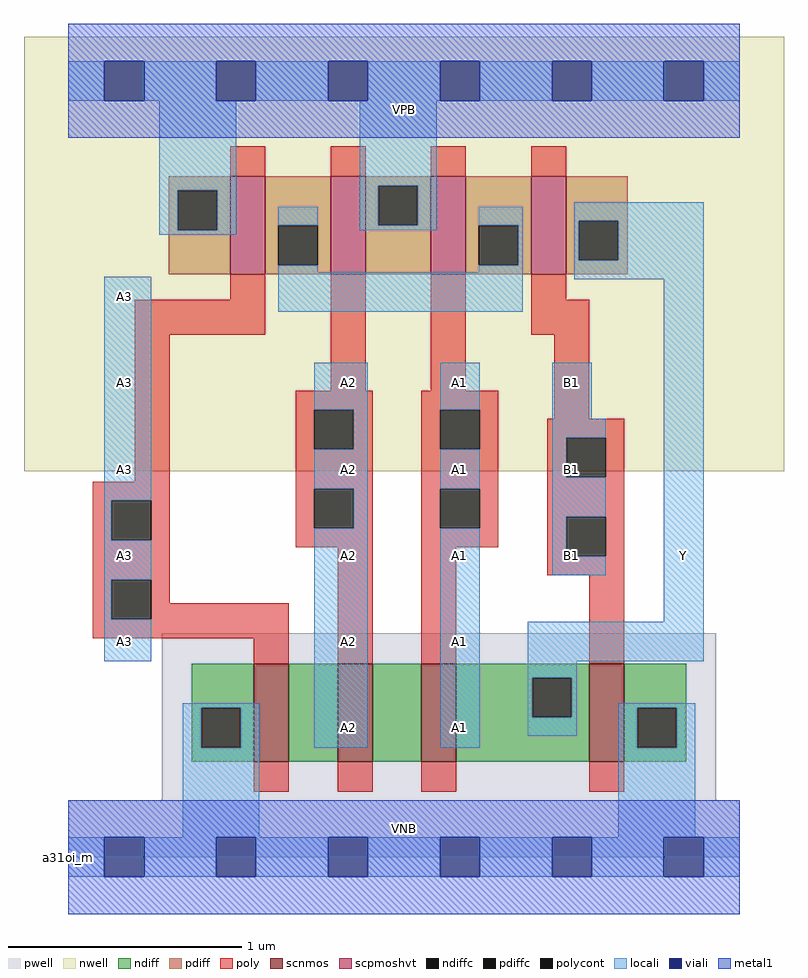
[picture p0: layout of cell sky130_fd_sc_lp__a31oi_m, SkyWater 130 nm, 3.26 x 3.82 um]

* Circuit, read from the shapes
.subckt sky130_fd_sc_lp__a31oi_m A1 A2 A3 B1 VGND VNB VPB VPWR Y
XM1 n1 A3 VGND VNB sky130_fd_pr__nfet_01v8 w=0.42 l=0.15
XM2 n2 A2 n1 VNB sky130_fd_pr__nfet_01v8 w=0.42 l=0.15
XM3 Y A1 n2 VNB sky130_fd_pr__nfet_01v8 w=0.42 l=0.15
XM4 VGND B1 Y VNB sky130_fd_pr__nfet_01v8 w=0.42 l=0.15
XM5 n3 A3 VPWR VPB sky130_fd_pr__pfet_01v8_hvt w=0.42 l=0.15
XM6 VPWR A2 n3 VPB sky130_fd_pr__pfet_01v8_hvt w=0.42 l=0.15
XM7 n3 A1 VPWR VPB sky130_fd_pr__pfet_01v8_hvt w=0.42 l=0.15
XM8 Y B1 n3 VPB sky130_fd_pr__pfet_01v8_hvt w=0.42 l=0.15
.ends

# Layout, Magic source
magic
tech sky130A
magscale 1 2
<< nwell >>
rect -38 331 614 704
<< pwell >>
rect 80 49 556 192
rect 0 0 576 49
<< scnmos >>
rect 159 82 189 166
rect 231 82 261 166
rect 303 82 333 166
rect 447 82 477 166
<< scpmoshvt >>
rect 139 500 169 584
rect 225 500 255 584
rect 311 500 341 584
rect 397 500 427 584
<< ndiff >>
rect 106 128 159 166
rect 106 94 114 128
rect 148 94 159 128
rect 106 82 159 94
rect 189 82 231 166
rect 261 82 303 166
rect 333 154 447 166
rect 333 120 398 154
rect 432 120 447 154
rect 333 82 447 120
rect 477 128 530 166
rect 477 94 488 128
rect 522 94 530 128
rect 477 82 530 94
<< pdiff >>
rect 86 572 139 584
rect 86 538 94 572
rect 128 538 139 572
rect 86 500 139 538
rect 169 542 225 584
rect 169 508 180 542
rect 214 508 225 542
rect 169 500 225 508
rect 255 576 311 584
rect 255 542 266 576
rect 300 542 311 576
rect 255 500 311 542
rect 341 542 397 584
rect 341 508 352 542
rect 386 508 397 542
rect 341 500 397 508
rect 427 546 480 584
rect 427 512 438 546
rect 472 512 480 546
rect 427 500 480 512
<< ndiffc >>
rect 114 94 148 128
rect 398 120 432 154
rect 488 94 522 128
<< pdiffc >>
rect 94 538 128 572
rect 180 508 214 542
rect 266 542 300 576
rect 352 508 386 542
rect 438 512 472 546
<< poly >>
rect 139 584 169 610
rect 225 584 255 610
rect 311 584 341 610
rect 397 584 427 610
rect 139 478 169 500
rect 57 448 169 478
rect 57 322 87 448
rect 225 400 255 500
rect 311 400 341 500
rect 397 478 427 500
rect 397 448 447 478
rect 21 306 87 322
rect 21 272 37 306
rect 71 272 87 306
rect 21 238 87 272
rect 195 384 261 400
rect 195 350 211 384
rect 245 350 261 384
rect 195 316 261 350
rect 195 282 211 316
rect 245 282 261 316
rect 195 266 261 282
rect 21 204 37 238
rect 71 218 87 238
rect 71 204 189 218
rect 21 188 189 204
rect 159 166 189 188
rect 231 166 261 266
rect 303 384 369 400
rect 303 350 319 384
rect 353 350 369 384
rect 417 376 447 448
rect 303 316 369 350
rect 303 282 319 316
rect 353 282 369 316
rect 303 266 369 282
rect 411 360 477 376
rect 411 326 427 360
rect 461 326 477 360
rect 411 292 477 326
rect 303 166 333 266
rect 411 258 427 292
rect 461 258 477 292
rect 411 242 477 258
rect 447 166 477 242
rect 159 56 189 82
rect 231 56 261 82
rect 303 56 333 82
rect 447 56 477 82
<< polycont >>
rect 37 272 71 306
rect 211 350 245 384
rect 211 282 245 316
rect 37 204 71 238
rect 319 350 353 384
rect 319 282 353 316
rect 427 326 461 360
rect 427 258 461 292
<< locali >>
rect 0 649 31 683
rect 65 649 127 683
rect 161 649 223 683
rect 257 649 319 683
rect 353 649 415 683
rect 449 649 511 683
rect 545 649 576 683
rect 78 572 144 649
rect 78 538 94 572
rect 128 538 144 572
rect 250 576 316 649
rect 78 534 144 538
rect 180 542 214 558
rect 250 542 266 576
rect 300 542 316 576
rect 250 538 316 542
rect 352 542 390 558
rect 180 502 214 508
rect 386 508 390 542
rect 352 502 390 508
rect 31 306 71 498
rect 180 468 390 502
rect 434 546 545 562
rect 434 512 438 546
rect 472 512 545 546
rect 434 496 545 512
rect 31 272 37 306
rect 31 238 71 272
rect 31 204 37 238
rect 31 168 71 204
rect 211 384 257 424
rect 245 350 257 384
rect 211 316 257 350
rect 245 282 257 316
rect 98 128 164 132
rect 98 94 114 128
rect 148 94 164 128
rect 211 94 257 282
rect 319 384 353 424
rect 319 316 353 350
rect 319 94 353 282
rect 415 376 449 424
rect 415 360 461 376
rect 415 326 427 360
rect 415 292 461 326
rect 415 258 427 292
rect 415 242 461 258
rect 511 202 545 496
rect 394 168 545 202
rect 394 154 436 168
rect 394 120 398 154
rect 432 120 436 154
rect 394 104 436 120
rect 472 128 538 132
rect 472 94 488 128
rect 522 94 538 128
rect 98 17 164 94
rect 472 17 538 94
rect 0 -17 31 17
rect 65 -17 127 17
rect 161 -17 223 17
rect 257 -17 319 17
rect 353 -17 415 17
rect 449 -17 511 17
rect 545 -17 576 17
<< viali >>
rect 31 649 65 683
rect 127 649 161 683
rect 223 649 257 683
rect 319 649 353 683
rect 415 649 449 683
rect 511 649 545 683
rect 31 -17 65 17
rect 127 -17 161 17
rect 223 -17 257 17
rect 319 -17 353 17
rect 415 -17 449 17
rect 511 -17 545 17
<< metal1 >>
rect 0 683 576 715
rect 0 649 31 683
rect 65 649 127 683
rect 161 649 223 683
rect 257 649 319 683
rect 353 649 415 683
rect 449 649 511 683
rect 545 649 576 683
rect 0 617 576 649
rect 0 17 576 49
rect 0 -17 31 17
rect 65 -17 127 17
rect 161 -17 223 17
rect 257 -17 319 17
rect 353 -17 415 17
rect 449 -17 511 17
rect 545 -17 576 17
rect 0 -49 576 -17
<< labels >>
flabel pwell s 0 0 576 49 0 FreeSans 200 0 0 0 VNB
port 6 nsew ground bidirectional
flabel nwell s 0 617 576 666 0 FreeSans 200 0 0 0 VPB
port 7 nsew power bidirectional
rlabel comment s 0 0 0 0 4 a31oi_m
flabel metal1 s 0 617 576 666 0 FreeSans 340 0 0 0 VPWR
port 8 nsew power bidirectional
flabel metal1 s 0 0 576 49 0 FreeSans 340 0 0 0 VGND
port 5 nsew ground bidirectional
flabel locali s 31 168 65 202 0 FreeSans 340 0 0 0 A3
port 3 nsew signal input
flabel locali s 31 242 65 276 0 FreeSans 340 0 0 0 A3
port 3 nsew signal input
flabel locali s 31 316 65 350 0 FreeSans 340 0 0 0 A3
port 3 nsew signal input
flabel locali s 31 390 65 424 0 FreeSans 340 0 0 0 A3
port 3 nsew signal input
flabel locali s 31 464 65 498 0 FreeSans 340 0 0 0 A3
port 3 nsew signal input
flabel locali s 415 242 449 276 0 FreeSans 340 0 0 0 B1
port 4 nsew signal input
flabel locali s 415 316 449 350 0 FreeSans 340 0 0 0 B1
port 4 nsew signal input
flabel locali s 415 390 449 424 0 FreeSans 340 0 0 0 B1
port 4 nsew signal input
flabel locali s 319 94 353 128 0 FreeSans 340 0 0 0 A1
port 1 nsew signal input
flabel locali s 319 168 353 202 0 FreeSans 340 0 0 0 A1
port 1 nsew signal input
flabel locali s 319 242 353 276 0 FreeSans 340 0 0 0 A1
port 1 nsew signal input
flabel locali s 319 316 353 350 0 FreeSans 340 0 0 0 A1
port 1 nsew signal input
flabel locali s 319 390 353 424 0 FreeSans 340 0 0 0 A1
port 1 nsew signal input
flabel locali s 223 94 257 128 0 FreeSans 340 0 0 0 A2
port 2 nsew signal input
flabel locali s 223 168 257 202 0 FreeSans 340 0 0 0 A2
port 2 nsew signal input
flabel locali s 223 242 257 276 0 FreeSans 340 0 0 0 A2
port 2 nsew signal input
flabel locali s 223 316 257 350 0 FreeSans 340 0 0 0 A2
port 2 nsew signal input
flabel locali s 223 390 257 424 0 FreeSans 340 0 0 0 A2
port 2 nsew signal input
flabel locali s 511 242 545 276 0 FreeSans 340 0 0 0 Y
port 9 nsew signal output
<< properties >>
string LEFsite unit
string LEFclass CORE
string FIXED_BBOX 0 0 576 666
string GDS_FILE $PDKPATH/libs.ref/sky130_fd_sc_lp/gds/sky130_fd_sc_lp.gds
string LEFsymmetry X Y R90
string GDS_END 3462606
string GDS_START 3455702
<< end >>
